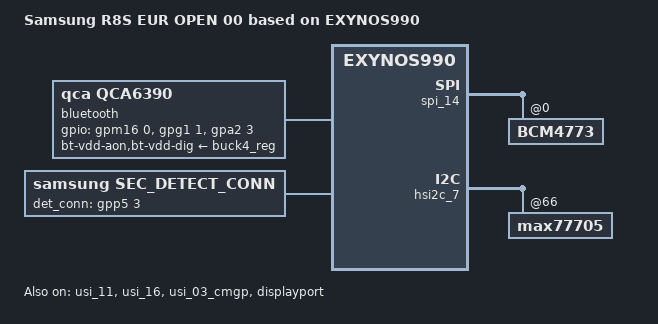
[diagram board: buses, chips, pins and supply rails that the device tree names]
/*
 * SAMSUNG EXYNOS990 board device tree source
 *
 * Copyright (c) 2019 Samsung Electronics Co., Ltd.
 *		http://www.samsung.com
 *
 * This program is free software; you can redistribute it and/or modify
 * it under the terms of the GNU General Public License version 2 as
 * published by the Free Software Foundation.
*/

/dts-v1/;
/plugin/;
#include "exynos990-r8s_pm_00.dtsi"
#include "exynos990-r8s_common.dtsi"
#include "exynos_gpio_config_macros.dtsi"
#include "exynos990-r8s_nfc_00.dtsi"
#include "../exynos/exynos9830-universal9830-cp-s5123-sipc.dtsi"
#include <dt-bindings/gpio/gpio.h>
#include "exynos9830-sensorhub_03.dtsi"
#include "exynos990-r8s_fingerprint_00.dtsi"
#include "battery_data_r8_common.dtsi"

#define BOARD_ID	0x10
#define BOARD_REV	0x0

/ {
	compatible = "samsung,R8S EUR OPEN 00", "samsung,EXYNOS990";
	dtbo-hw_rev = <0>;
	dtbo-hw_rev_end = <1>;
	edtbo-rev = <0>;

	fragment@model {
		target-path = "/";
		__overlay__ {
			#address-cells = <2>;
			#size-cells = <1>;

			model = "Samsung R8S EUR OPEN 00 based on EXYNOS990";

			acpm_ipc {
				compatible = "samsung,exynos-acpm-ipc";
				board-id = <BOARD_ID>;
				board-rev = <BOARD_REV>;
			};

			pinctrl@15C30000 {
				bt_en: bt-en {
					samsung,pins = "gpm16-0";
					samsung,pin-function = <1>;
					samsung,pin-pud = <0>;
					samsung,pin-con-pdn = <3>;
					samsung,pin-pud-pdn = <0>;
					samsung,pin-drv = <2>;
				};
			};

			pinctrl@15850000 {
				bt_hostwake: bt-hostwake {
					samsung,pins = "gpa2-3";
					samsung,pin-function = <0xF>;
					samsung,pin-pud = <1>;
				};
			};

			pinctrl@10730000 {
				bt_btwake: bt-btwake {
					samsung,pins = "gpg1-1";
					samsung,pin-function = <1>;
					samsung,pin-pud = <0>;
					samsung,pin-con-pdn = <3>;
					samsung,pin-pud-pdn = <0>;
				};
				cam_detect_conn_setting: cam_detect_conn_setting {
					samsung,pins = "gpp5-3";
					samsung,pin-function = <0xf>;
					samsung,pin-pud = <0>;
					samsung,pin-drv = <0>;
				};
			};

			bluetooth {
				compatible = "qca,qca6390";
				gpios = <&gpm16 0 GPIO_ACTIVE_HIGH    /*BT_EN*/
				&gpg1 1 GPIO_ACTIVE_HIGH    /*BT_WAKE*/
				&gpa2 3 GPIO_ACTIVE_HIGH    /*BT_HOST_WAKE*/ >;
				qca,bt-vdd-aon-supply = <&buck4_reg>;
				qca,bt-vdd-dig-supply = <&buck4_reg>;
				qca,bt-vdd-aon-voltage-level = <950000 950000>;
				qca,bt-vdd-dig-voltage-level = <950000 950000>;
				pinctrl-names = "default";
				pinctrl-0=<&bt_en &bt_hostwake &bt_btwake>;
				status = "okay";
			};

			sec_detect_conn {
				compatible = "samsung,sec_detect_conn";
				sec,det_conn_gpios = <&gpp5 3 0>;           /* CAM_CON_DET */
				sec,det_conn_name = "CAM_CONNECT";

				sec,det_conn_irq_type = <3>; /* CAM_CON_DET BOTH EDGE*/
				pinctrl-names = "default";
				pinctrl-0 = <&cam_detect_conn_setting>;
			};

			abc_hub {
				pinctrl-0 = <&cam_detect_conn_setting>;
				cond {
					cond,det_conn_gpios = <&gpp5 3 0>; /* CAM_CON_DET */

					cond,name="cam_cond";
					cond,det_conn_irq_type =<3>; /* CAM_CON_DET BOTH EDGE*/
				};
			};
			
			exynos-powermode {
				wakeup-masks {
					/*
					* wakeup_mask configuration
					*              SICD            SICD_CPD        AFTR            STOP
					*              LPD             LPA             ALPA            DSTOP
					*              SLEEP           SLEEP_VTS_ON    SLEEP_AUD_ON    FAPO
					*              USB_L2          SYS_SLEEP_HSI2ON
					*/
					wakeup-mask {
						mask = <0x7ff81aff>,    <0x0>,          <0x0>,          <0x0>,
							<0x0>,           <0x0>,          <0x0>,          <0x0>,
							<0x81a6f>,        <0x1a6f>,       <0x1a6f>,       <0x0>,
							<0x0>,             <0x81a6f>;
						mask-offset = <0x3944>;
						stat-offset = <0x3950>;
					};
					wakeup-mask2 {
						mask = <0x1c>,          <0x0>,          <0x0>,          <0x0>,
							<0x0>,           <0x0>,          <0x0>,          <0x0>,
							<0x1c>,          <0x1c>,         <0x1c>,         <0x0>,
							<0x0>,             <0x1c>;
						mask-offset = <0x3964>;
						stat-offset = <0x3954>;
						usbl2_wakeup_int_en = <2>, <3>;
					};
				};
			};
		}; /* end of __overlay__ */
	}; /* end of fragment */

	fragment@modemif {
		target-path = "/";
		__overlay__ {
			cpif {
				pktproc_desc_num_ratio_percent = <50>;
			};

			cp_shmem {
				regions {
					pktproc {
						region,size = <0x02000000>;
					};
				};
			};
		};
	};
}; /* end of root */

&chosen {
	bootargs_ext = "root=/dev/ram0 androidboot.boot_devices=13100000.ufs sec_debug.cp=0";
};

&usi_11 {
	usi_v2_mode = "i2c";
	status = "okay";
};

&usi_16 {
	usi_v2_mode = "spi";
	status = "okay";
};

&usi_03_cmgp {
	usi_v2_mode = "i2c";
	status = "okay";
};

&spi_14 {
	BCM4773@0 {
		ssp-acc-position = <5>;
		ssp-mag-position = <7>;
		ssp-mag-array = /bits/ 8 <144 84 85 170 164 231 0 227 213 54 66 18 172 63 0 87 255 194 234 141 192 253 179 218 8 175 231>;
	};
};


&hsi2c_7 {
	max77705@66 {
		max77705,extra_fw_enable = <0>;
	};
};

&hsi2c_25 {
	als_rear@29 {
		status = "disabled";
	};
};

&pcie_2 {
	chip-ver = <1>;
};

&ufs {
	/* board type for UFS CAL */
	evt-ver = /bits/ 8 <1>;
};

&pinctrl_5 {
	aux_oe: aux-oe {
		samsung,pins = "gpp6-2";
		samsung,pin-function = <1>;
		samsung,pin-pud = <0>;
		samsung,pin-con-pdn = <3>;
		samsung,pin-pud-pdn = <0>;
		};

	sbu_sel: sbu-sel {
		samsung,pins = "gpp6-1";
		samsung,pin-function = <1>;
		samsung,pin-pud = <0>;
		samsung,pin-con-pdn = <3>;
		samsung,pin-pud-pdn = <0>;
		};
};

&displayport {
	status = "okay";
	dp,aux_sw_oe = <&gpp6 2 0>;
	dp,sbu_sw_sel = <&gpp6 1 0>;
	dp,usb_con_sel = <&gpm26 0 0>;

	pinctrl-names = "default";
	pinctrl-0 = <&aux_oe &sbu_sel>;
};

&spi_14 {
        BCM4773@0 {
        	ssp-mag-array = /bits/ 8 <144 84 85 170 164 231 0 227 213 54 66 18 172 63 0 87 255 194 234 141 192 253 179 218 8 175 231>;
        };
};

/* ----------------------------------------------------------------------------
 * Configurations for GPIOs without Device Driver
 * Note: Do NOT add pins using by device drivers to the configuration below
 * ----------------------------------------------------------------------------
 */

/*
 * pin banks of exynos9830 pin-controller 0 (ALIVE) : pinctrl@15850000
 * GPA0, GPA1, GPA2, GPA3, GPA4
 * GPQ0
 */
&pinctrl_0 {
	pinctrl-names = "default";
	pinctrl-0 = <&initial0>;
	initial0: initial-state {
		PIN_IN(gpq0-6, DOWN);			/* XSPEEDY_DCXO */
	};
};

/*
 * pin banks of exynos9830 pin-controller 4 (PERIC0) : pinctrl@10430000
 * GPP0, GPP1, GPP2, GPP3, GPP4
 * GPG0
 */
&pinctrl_4 {
	pinctrl-names = "default";
	pinctrl-0 = <&initial4>;
	initial4: initial-state {
		PIN_IN_SLP(gpp2-4, NONE, INPUT, NONE);	/* CABLE_DET_LMB */
		PIN_IN_SLP(gpp2-5, NONE, INPUT, NONE);	/* SUB_VER */
	};
};

/*
 * pin banks of exynos9830 pin-controller 5 (PERIC1) : pinctrl@10730000
 * GPP5, GPP6, GPP7, GPP8, GPP9
 * GPC0
 * GPG1
 * GPB0, GPB1, GPB2
 */
&pinctrl_5 {
	pinctrl-names = "default";
	pinctrl-0 = <&initial5>;
	initial5: initial-state {
		PIN_IN_SLP(gpp5-0, NONE, INPUT, NONE);	/* MEM_SCL_1P8 */
		PIN_IN_SLP(gpp5-1, NONE, INPUT, NONE);	/* MEM_SDA_1P8 */
		PIN_IN_SLP(gpp5-4, NONE, INPUT, NONE);	/* CABLE_DET_HB */
	};
};
/* ----------------- End of GPIO configurations ----------------------------- */

&reserved_memory {
	cp_rmem_2 {
		reg = <0x0 0xD0000000 0x02000000>;
	};
};
